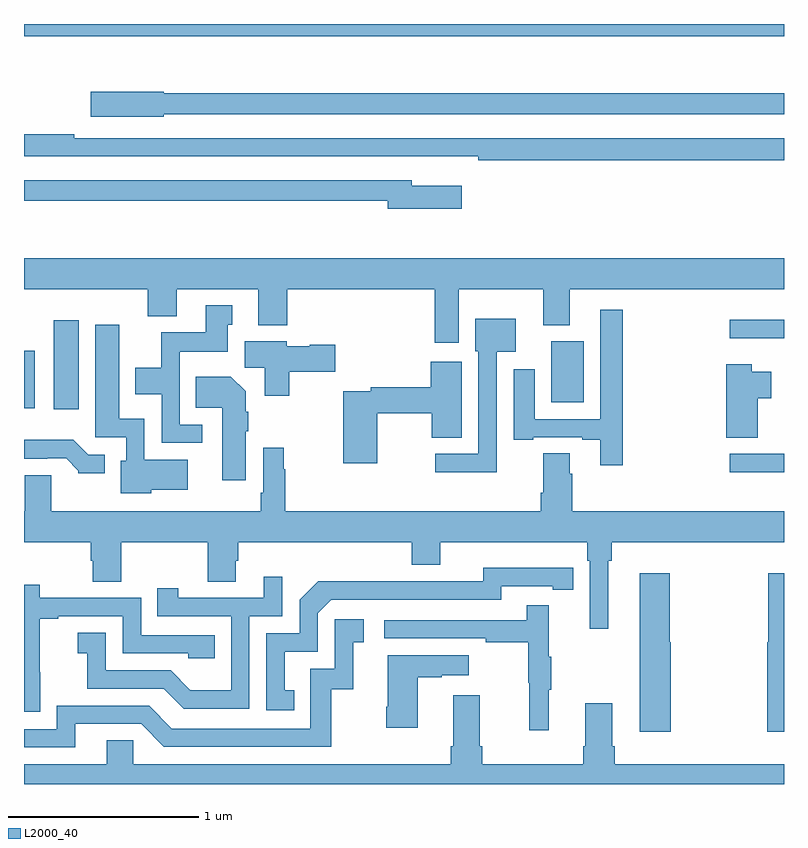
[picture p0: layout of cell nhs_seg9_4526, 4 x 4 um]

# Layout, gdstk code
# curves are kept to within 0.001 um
import gdstk
lib = gdstk.Library(unit=1e-6, precision=1e-09)
def R(c, l, rs):  # rectangles x0, y0, x1, y1
    for r in rs: c.add(gdstk.rectangle(r[:2], r[2:], *l))
def P(c, l, *ps):  # polygons
    for p in ps: c.add(gdstk.Polygon(p, *l))
L2000_40 = (2000, 40)

nhs_seg9_4526 = lib.new_cell('nhs_seg9_4526')
R(nhs_seg9_4526, L2000_40, [(374.715,1178.142,375,1178.238), (371.156,1178.472,371.287,1178.941), (371,1178.477,371.056,1178.779), (373.775,1178.51,373.945,1178.83), (374.715,1178.846,375,1178.944), (371,1180.436,375,1180.5)])
P(nhs_seg9_4526, L2000_40, [(371.736,1180.026),(375,1180.026),(375,1180.135),(371.736,1180.135),(371.736,1180.143),(371.352,1180.143),(371.352,1180.013),(371.736,1180.013)],
  [(375,1179.9),(371.264,1179.9),(371.264,1179.92),(371,1179.92),(371,1179.804),(373.138,1179.804),(373.138,1179.803),(373.39,1179.803),(373.39,1179.784),(375,1179.784)],
  [(373.303,1179.649),(373.042,1179.649),(373.042,1179.678),(371,1179.678),(371,1179.57),(372.914,1179.57),(372.914,1179.527),(373.303,1179.527)],
  [(371,1179.104),(371.651,1179.104),(371.651,1178.963),(371.803,1178.963),(371.803,1179.104),(372.233,1179.104),(372.233,1178.915),(372.386,1178.915),(372.386,1179.104),(373.163,1179.104),(373.163,1178.823),(373.288,1178.823),(373.288,1179.104),(373.733,1179.104),(373.733,1178.915),(373.873,1178.915),(373.873,1179.104),(375,1179.104),(375,1179.268),(371,1179.268)],
  [(371.938,1178.391),(371.82,1178.391),(371.82,1178.774),(372.073,1178.774),(372.073,1178.916),(372.097,1178.916),(372.097,1179.019),(371.957,1179.019),(371.957,1178.878),(371.722,1178.878),(371.722,1178.692),(371.585,1178.692),(371.585,1178.552),(371.724,1178.552),(371.724,1178.295),(371.938,1178.295)],
  [(374.15,1178.995),(374.034,1178.995),(374.034,1178.421),(373.687,1178.421),(373.687,1178.683),(373.577,1178.683),(373.577,1178.313),(373.681,1178.313),(373.681,1178.325),(373.937,1178.325),(373.937,1178.313),(374.033,1178.313),(374.033,1178.178),(374.15,1178.178)],
  [(373.488,1178.774),(373.588,1178.774),(373.588,1178.95),(373.376,1178.95),(373.376,1178.778),(373.392,1178.778),(373.392,1178.238),(373.164,1178.238),(373.164,1178.141),(373.488,1178.141)],
  [(371.67,1178.048),(371.863,1178.048),(371.863,1178.206),(371.634,1178.206),(371.634,1178.422),(371.5,1178.422),(371.5,1178.917),(371.375,1178.917),(371.375,1178.325),(371.538,1178.325),(371.538,1178.202),(371.51,1178.202),(371.51,1178.03),(371.67,1178.03)],
  [(372.396,1178.669),(372.637,1178.669),(372.637,1178.811),(372.504,1178.811),(372.504,1178.803),(372.384,1178.803),(372.384,1178.83),(372.161,1178.83),(372.161,1178.692),(372.266,1178.692),(372.266,1178.544),(372.396,1178.544)],
  [(372.858,1178.452),(373.147,1178.452),(373.147,1178.323),(373.303,1178.323),(373.303,1178.722),(373.142,1178.722),(373.142,1178.588),(372.826,1178.588),(372.826,1178.568),(372.68,1178.568),(372.68,1178.187),(372.858,1178.187)],
  [(374.863,1178.531),(374.932,1178.531),(374.932,1178.671),(374.83,1178.671),(374.83,1178.71),(374.696,1178.71),(374.696,1178.323),(374.863,1178.323)],
  [(372.166,1178.356),(372.179,1178.356),(372.179,1178.459),(372.166,1178.459),(372.166,1178.566),(372.088,1178.644),(371.905,1178.644),(371.905,1178.48),(372.044,1178.48),(372.044,1178.1),(372.166,1178.1)],
  [(371.425,1178.232),(371.337,1178.232),(371.259,1178.311),(371,1178.311),(371,1178.211),(371.123,1178.211),(371.123,1178.214),(371.222,1178.214),(371.286,1178.15),(371.286,1178.135),(371.425,1178.135)],
  [(374.074,1177.676),(374.093,1177.676),(374.093,1177.772),(375,1177.772),(375,1177.936),(373.886,1177.936),(373.886,1178.132),(373.873,1178.132),(373.873,1178.24),(373.733,1178.24),(373.733,1178.032),(373.721,1178.032),(373.721,1177.936),(372.374,1177.936),(372.374,1178.156),(372.367,1178.156),(372.367,1178.269),(372.258,1178.269),(372.258,1178.032),(372.246,1178.032),(372.246,1177.936),(371.143,1177.936),(371.143,1178.126),(371.003,1178.126),(371.003,1177.936),(371,1177.936),(371,1177.772),(371.351,1177.772),(371.351,1177.674),(371.363,1177.674),(371.363,1177.564),(371.511,1177.564),(371.511,1177.772),(371.968,1177.772),(371.968,1177.564),(372.115,1177.564),(372.115,1177.674),(372.128,1177.674),(372.128,1177.772),(373.04,1177.772),(373.04,1177.655),(373.192,1177.655),(373.192,1177.772),(373.964,1177.772),(373.964,1177.676),(373.977,1177.676),(373.977,1177.317),(374.074,1177.317)],
  [(372.422,1176.993),(372.373,1176.993),(372.373,1177.197),(372.546,1177.197),(372.546,1177.398),(372.618,1177.47),(373.512,1177.47),(373.512,1177.542),(373.784,1177.542),(373.784,1177.522),(373.892,1177.522),(373.892,1177.638),(373.416,1177.639),(373.416,1177.566),(372.956,1177.566),(372.956,1177.568),(372.548,1177.568),(372.45,1177.47),(372.45,1177.293),(372.276,1177.293),(372.276,1176.888),(372.422,1176.888)],
  [(375,1177.609),(374.918,1177.609),(374.918,1177.245),(374.912,1177.245),(374.912,1176.774),(375,1176.774)],
  [(374.404,1177.245),(374.399,1177.245),(374.399,1177.609),(374.24,1177.609),(374.24,1176.774),(374.404,1176.774)],
  [(372.186,1177.383),(372.36,1177.383),(372.36,1177.591),(372.263,1177.591),(372.263,1177.479),(371.812,1177.479),(371.812,1177.531),(371.701,1177.531),(371.701,1177.383),(372.09,1177.383),(372.09,1176.994),(371.876,1176.994),(371.772,1177.098),(371.43,1177.098),(371.43,1177.297),(371.283,1177.297),(371.283,1177.187),(371.332,1177.187),(371.332,1177.002),(371.735,1177.002),(371.84,1176.897),(372.186,1176.897)],
  [(371.085,1177.087),(371.084,1177.087),(371.084,1177.371),(371.179,1177.371),(371.179,1177.383),(371.52,1177.383),(371.52,1177.188),(371.865,1177.188),(371.865,1177.161),(372.005,1177.161),(372.005,1177.284),(371.616,1177.284),(371.616,1177.479),(371.082,1177.479),(371.082,1177.548),(371,1177.548),(371,1176.881),(371.085,1176.881)],
  [(373.763,1176.995),(373.774,1176.995),(373.774,1177.169),(373.763,1177.169),(373.763,1177.441),(373.645,1177.441),(373.645,1177.362),(372.897,1177.362),(372.897,1177.266),(373.429,1177.266),(373.429,1177.246),(373.653,1177.246),(373.653,1177.032),(373.66,1177.032),(373.66,1176.783),(373.763,1176.783)],
  [(371.269,1176.816),(371.616,1176.816),(371.736,1176.696),(372.616,1176.696),(372.616,1176.999),(372.734,1176.999),(372.734,1177.245),(372.787,1177.245),(372.787,1177.366),(372.636,1177.366),(372.636,1177.107),(372.507,1177.107),(372.507,1176.792),(371.778,1176.792),(371.658,1176.912),(371.172,1176.912),(371.172,1176.789),(371,1176.789),(371,1176.693),(371.269,1176.693)],
  [(373.072,1177.063),(373.199,1177.063),(373.199,1177.073),(373.342,1177.073),(373.342,1177.177),(372.914,1177.177),(372.914,1176.907),(372.907,1176.907),(372.907,1176.795),(373.072,1176.795)],
  [(375,1176.604),(374.108,1176.604),(374.108,1176.7),(374.095,1176.7),(374.095,1176.925),(373.955,1176.925),(373.955,1176.7),(373.943,1176.7),(373.943,1176.604),(373.412,1176.604),(373.412,1176.7),(373.399,1176.7),(373.399,1176.967),(373.259,1176.967),(373.259,1176.7),(373.247,1176.7),(373.247,1176.604),(371.574,1176.604),(371.574,1176.731),(371.435,1176.731),(371.435,1176.604),(371,1176.604),(371,1176.5),(375,1176.5)])

lib.write_gds('nhs_seg9_4526.gds')
